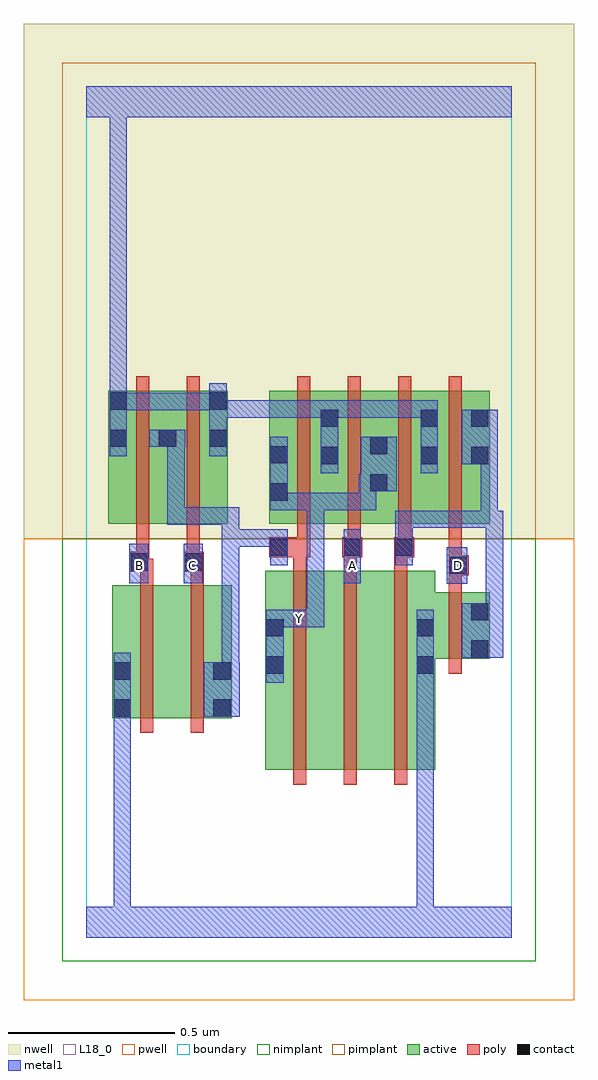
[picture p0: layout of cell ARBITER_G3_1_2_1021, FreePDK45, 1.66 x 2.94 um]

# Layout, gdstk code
import gdstk
lib = gdstk.Library(unit=1e-6, precision=1e-09)
def R(c, l, rs):  # rectangles x0, y0, x1, y1
    for r in rs: c.add(gdstk.rectangle(r[:2], r[2:], *l))
def A(c, l, x, y, w, h, nx, ny, dx, dy):  # array of equal rectangles
    R(c, l, [(x+i*dx, y+j*dy, x+i*dx+w, y+j*dy+h) for i in range(nx) for j in range(ny)])
active = (1, 0)
pwell = (2, 0)
nwell = (3, 0)
nimplant = (4, 0)
pimplant = (5, 0)
poly = (9, 0)
contact = (10, 0)
metal1 = (11, 0)
L18_0 = (18, 0)
boundary = (235, 0)

arbiter_g3_1_2_1021 = lib.new_cell('ARBITER_G3_1_2_1021')
R(arbiter_g3_1_2_1021, active, [(0.538,0.504,0.718,1.104), (0.718,0.504,0.87,1.104), (0.87,0.504,1.05,1.104), (0.538,0.556,0.598,1.104), (0.078,0.66,0.138,1.06), (0.078,0.66,0.258,1.06), (0.258,0.66,0.438,1.06), (0.378,0.66,0.438,1.06), (0.99,0.79,1.05,1.028), (0.99,0.838,1.214,1.038), (1.154,0.838,1.214,1.038), (0.066,1.244,0.126,1.644), (0.066,1.244,0.274,1.644), (0.214,1.244,0.274,1.644), (0.214,1.244,0.426,1.644), (0.366,1.244,0.426,1.644), (0.55,1.244,0.61,1.644), (0.55,1.244,0.762,1.644), (0.702,1.244,0.91,1.644), (0.85,1.244,1.062,1.644), (1.002,1.244,1.214,1.644), (1.154,1.244,1.214,1.644), (0.85,1.338,0.91,1.644), (0.702,1.42,0.762,1.644), (1.002,1.42,1.062,1.644)])
R(arbiter_g3_1_2_1021, pwell, [(-0.188,-0.188,1.468,1.2)])
R(arbiter_g3_1_2_1021, nwell, [(-0.188,1.2,1.468,2.748)])
R(arbiter_g3_1_2_1021, nimplant, [(-0.072,-0.072,1.352,1.2)])
R(arbiter_g3_1_2_1021, pimplant, [(-0.072,1.2,1.352,2.632)])
A(arbiter_g3_1_2_1021, poly, 0.622, 0.46, 0.04, 0.688, 3, 1, 0.152, 0)
A(arbiter_g3_1_2_1021, poly, 0.622, 1.108, 0.04, 0.076, 3, 1, 0.152, 0)
A(arbiter_g3_1_2_1021, poly, 0.634, 1.164, 0.04, 0.076, 3, 1, 0.152, 0)
A(arbiter_g3_1_2_1021, poly, 0.634, 1.2, 0.04, 0.488, 4, 1, 0.152, 0)
R(arbiter_g3_1_2_1021, poly, [(0.162,0.616,0.202,1.104), (0.314,0.616,0.354,1.104), (1.09,0.794,1.13,1.082), (1.09,1.042,1.13,1.13), (0.162,1.064,0.202,1.14), (0.314,1.064,0.354,1.14), (1.09,1.09,1.15,1.15), (0.13,1.1,0.19,1.16), (0.15,1.1,0.19,1.14), (0.15,1.1,0.202,1.14), (0.294,1.1,0.354,1.16), (1.09,1.11,1.13,1.184), (0.15,1.12,0.19,1.24), (0.302,1.12,0.342,1.16), (0.302,1.12,0.342,1.16), (0.302,1.12,0.342,1.24), (0.55,1.144,0.674,1.204), (0.622,1.144,0.662,1.184), (0.622,1.144,0.662,1.184), (0.77,1.144,0.83,1.204), (0.926,1.144,0.966,1.184), (0.926,1.144,0.966,1.184), (0.926,1.144,0.986,1.204), (1.09,1.144,1.13,1.24), (1.09,1.144,1.13,1.184), (0.786,1.164,0.826,1.204), (0.786,1.164,0.826,1.204), (0.15,1.2,0.19,1.688), (0.302,1.2,0.342,1.688)])
R(arbiter_g3_1_2_1021, contact, [(0.082,0.664,0.134,0.716), (0.382,0.664,0.434,0.716), (0.082,0.776,0.134,0.828), (0.382,0.776,0.434,0.828), (0.542,0.794,0.594,0.846), (0.994,0.794,1.046,0.846), (1.158,0.842,1.21,0.894), (0.542,0.906,0.594,0.958), (0.994,0.906,1.046,0.958), (1.158,0.954,1.21,1.006), (1.094,1.094,1.146,1.146), (0.134,1.104,0.186,1.156), (0.298,1.104,0.35,1.156), (0.554,1.148,0.606,1.2), (0.774,1.148,0.826,1.2), (0.93,1.148,0.982,1.2), (0.554,1.314,0.606,1.366), (0.854,1.342,0.906,1.394), (0.706,1.424,0.758,1.476), (1.006,1.424,1.058,1.476), (1.158,1.424,1.21,1.476), (0.554,1.426,0.606,1.478), (0.854,1.454,0.906,1.506), (0.07,1.476,0.122,1.528), (0.218,1.476,0.27,1.528), (0.37,1.476,0.422,1.528), (0.706,1.536,0.758,1.588), (1.006,1.536,1.058,1.588), (1.158,1.536,1.21,1.588), (0.07,1.588,0.122,1.64), (0.37,1.588,0.422,1.64)])
R(arbiter_g3_1_2_1021, metal1, [(0,0,1.28,0.092), (0.082,0.04,0.134,0.092), (0.082,0.04,0.134,0.092), (0.082,0.04,0.134,0.092), (0.082,0.04,0.134,0.092), (0.082,0.04,0.134,0.092), (0.082,0.04,0.134,0.092), (0.082,0.04,0.134,0.092), (0.082,0.04,0.134,0.092), (0.082,0.04,0.134,0.092), (0.082,0.04,0.134,0.092), (0.082,0.04,0.134,0.092), (0.082,0.04,0.134,0.092), (0.082,0.04,0.134,0.688), (0.994,0.04,1.046,0.092), (0.994,0.04,1.046,0.092), (0.994,0.04,1.046,0.092), (0.994,0.04,1.046,0.092), (0.994,0.04,1.046,0.092), (0.994,0.04,1.046,0.092), (0.994,0.04,1.046,0.092), (0.994,0.04,1.046,0.092), (0.994,0.04,1.046,0.818), (0.082,0.636,0.134,0.856), (0.354,0.664,0.462,0.828), (0.542,0.766,0.594,0.986), (0.994,0.766,1.046,0.986), (0.408,0.776,0.46,0.828), (0.408,0.776,0.46,0.828), (0.408,0.776,0.46,1.228), (1.13,0.842,1.254,1.006), (0.542,0.934,0.594,0.986), (0.542,0.934,0.594,0.986), (0.542,0.934,0.638,0.986), (0.586,0.934,0.694,0.986), (0.642,0.934,0.716,0.986), (0.664,0.934,0.716,0.986), (0.664,0.934,0.716,0.986), (0.664,0.934,0.716,0.986), (0.664,0.934,0.716,1.338), (1.202,0.954,1.254,1.284), (1.084,1.064,1.146,1.174), (0.13,1.066,0.186,1.184), (0.294,1.066,0.35,1.184), (0.774,1.066,0.826,1.228), (0.554,1.12,0.606,1.228), (0.93,1.12,0.982,1.228), (0.408,1.176,0.606,1.228), (0.408,1.176,0.46,1.294), (0.554,1.176,0.606,1.228), (0.554,1.176,0.606,1.228), (0.93,1.176,0.982,1.228), (0.93,1.176,0.982,1.284), (0.93,1.232,1.238,1.284), (1.186,1.232,1.238,1.476), (1.186,1.232,1.238,1.284), (1.186,1.232,1.238,1.284), (1.186,1.232,1.254,1.284), (1.202,1.232,1.254,1.284), (1.202,1.232,1.254,1.284), (0.244,1.242,0.296,1.294), (0.244,1.242,0.296,1.294), (0.244,1.242,0.296,1.294), (0.244,1.242,0.46,1.294), (0.244,1.242,0.296,1.528), (0.554,1.286,0.606,1.506), (0.554,1.286,0.716,1.338), (0.664,1.286,0.716,1.338), (0.664,1.286,0.716,1.338), (0.664,1.286,0.716,1.338), (0.664,1.286,0.872,1.338), (0.82,1.286,0.872,1.394), (0.82,1.342,0.878,1.394), (0.826,1.342,0.934,1.506), (0.706,1.396,0.758,1.616), (1.006,1.396,1.058,1.616), (1.13,1.424,1.238,1.588), (0.07,1.448,0.122,1.668), (0.37,1.448,0.422,1.668), (0.19,1.476,0.298,1.528), (0.37,1.564,0.606,1.616), (0.554,1.564,0.606,1.616), (0.554,1.564,0.606,1.616), (0.554,1.564,0.606,1.616), (0.554,1.564,0.758,1.616), (0.706,1.564,0.868,1.616), (0.816,1.564,0.868,1.616), (0.816,1.564,0.868,1.616), (0.816,1.564,0.868,1.616), (0.816,1.564,1.026,1.616), (0.974,1.564,1.026,1.616), (0.974,1.564,1.058,1.616), (0.07,1.586,0.122,1.638), (0.07,1.586,0.122,1.638), (0.07,1.586,0.232,1.638), (0.18,1.586,0.232,1.638), (0.18,1.586,0.422,1.638), (0.37,1.586,0.422,1.638), (0.37,1.586,0.422,1.638), (0.07,1.616,0.122,1.668), (0.07,1.616,0.122,1.668), (0.07,1.616,0.122,2.52), (0,2.468,1.28,2.56), (0.07,2.468,0.122,2.52), (0.07,2.468,0.122,2.52), (0.07,2.468,0.122,2.52), (0.07,2.468,0.122,2.52), (0.07,2.468,0.122,2.52), (0.07,2.468,0.122,2.52), (0.07,2.468,0.122,2.52), (0.07,2.468,0.122,2.52), (0.07,2.468,0.122,2.52), (0.07,2.468,0.122,2.52), (0.07,2.468,0.122,2.52), (0.07,2.468,0.122,2.52), (0.07,2.468,0.122,2.52), (0.07,2.468,0.122,2.52)])
R(arbiter_g3_1_2_1021, L18_0, [(0,0,1.28,0.092), (0.082,0.04,0.134,0.092), (0.082,0.04,0.134,0.092), (0.082,0.04,0.134,0.092), (0.082,0.04,0.134,0.092), (0.082,0.04,0.134,0.092), (0.082,0.04,0.134,0.092), (0.082,0.04,0.134,0.092), (0.082,0.04,0.134,0.092), (0.082,0.04,0.134,0.092), (0.082,0.04,0.134,0.092), (0.082,0.04,0.134,0.092), (0.082,0.04,0.134,0.092), (0.082,0.04,0.134,0.688), (0.994,0.04,1.046,0.092), (0.994,0.04,1.046,0.092), (0.994,0.04,1.046,0.092), (0.994,0.04,1.046,0.092), (0.994,0.04,1.046,0.092), (0.994,0.04,1.046,0.092), (0.994,0.04,1.046,0.092), (0.994,0.04,1.046,0.092), (0.994,0.04,1.046,0.818), (0.082,0.636,0.134,0.856), (0.542,0.766,0.594,0.986), (0.994,0.766,1.046,0.986), (0.542,0.934,0.594,0.986), (0.542,0.934,0.594,0.986), (0.542,0.934,0.638,0.986), (0.586,0.934,0.694,0.986), (0.614,0.934,0.666,0.986), (0.642,0.934,0.716,0.986), (0.664,0.934,0.716,0.986), (0.664,0.934,0.716,0.986), (0.664,0.934,0.716,0.986), (0.664,0.934,0.716,1.338), (1.084,1.064,1.146,1.174), (0.13,1.066,0.186,1.184), (0.294,1.066,0.35,1.184), (0.774,1.066,0.826,1.228), (0.134,1.094,0.186,1.146), (0.294,1.094,0.346,1.146), (0.774,1.094,0.826,1.146), (1.094,1.094,1.146,1.146), (0.554,1.286,0.606,1.506), (0.554,1.286,0.716,1.338), (0.664,1.286,0.716,1.338), (0.664,1.286,0.716,1.338), (0.664,1.286,0.716,1.338), (0.664,1.286,0.872,1.338), (0.82,1.286,0.872,1.394), (0.82,1.342,0.878,1.394), (0.826,1.342,0.934,1.506), (0.706,1.396,0.758,1.616), (1.006,1.396,1.058,1.616), (0.07,1.448,0.122,1.668), (0.37,1.448,0.422,1.668), (0.37,1.564,0.606,1.616), (0.554,1.564,0.606,1.616), (0.554,1.564,0.606,1.616), (0.554,1.564,0.606,1.616), (0.554,1.564,0.758,1.616), (0.706,1.564,0.868,1.616), (0.816,1.564,0.868,1.616), (0.816,1.564,0.868,1.616), (0.816,1.564,0.868,1.616), (0.816,1.564,1.026,1.616), (0.974,1.564,1.026,1.616), (0.974,1.564,1.058,1.616), (0.07,1.586,0.122,1.638), (0.07,1.586,0.122,1.638), (0.07,1.586,0.232,1.638), (0.18,1.586,0.232,1.638), (0.18,1.586,0.422,1.638), (0.37,1.586,0.422,1.638), (0.37,1.586,0.422,1.638), (0.07,1.616,0.122,1.668), (0.07,1.616,0.122,1.668), (0.07,1.616,0.122,2.52), (0,2.468,1.28,2.56), (0.07,2.468,0.122,2.52), (0.07,2.468,0.122,2.52), (0.07,2.468,0.122,2.52), (0.07,2.468,0.122,2.52), (0.07,2.468,0.122,2.52), (0.07,2.468,0.122,2.52), (0.07,2.468,0.122,2.52), (0.07,2.468,0.122,2.52), (0.07,2.468,0.122,2.52), (0.07,2.468,0.122,2.52), (0.07,2.468,0.122,2.52), (0.07,2.468,0.122,2.52), (0.07,2.468,0.122,2.52), (0.07,2.468,0.122,2.52)])
R(arbiter_g3_1_2_1021, boundary, [(0,0,1.28,2.56)])
arbiter_g3_1_2_1021.add(gdstk.Label('A', (0.8,1.12), layer=11, texttype=0))
arbiter_g3_1_2_1021.add(gdstk.Label('B', (0.16,1.12), layer=11, texttype=0))
arbiter_g3_1_2_1021.add(gdstk.Label('C', (0.32,1.12), layer=11, texttype=0))
arbiter_g3_1_2_1021.add(gdstk.Label('D', (1.12,1.12), layer=11, texttype=0))
arbiter_g3_1_2_1021.add(gdstk.Label('Y', (0.64,0.96), layer=11, texttype=0))

lib.write_gds('ARBITER_G3_1_2_1021.gds')
